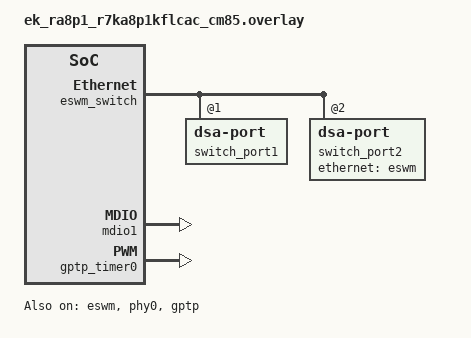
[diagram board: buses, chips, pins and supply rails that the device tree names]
/*
 * Copyright The Zephyr Project Contributors
 *
 * SPDX-License-Identifier: Apache-2.0
 */

#include <zephyr/dt-bindings/ethernet/dsa_tag_proto.h>

&eth0 {
	status = "disabled";
};

&eth1 {
	status = "disabled";
};

&eswm {
	compatible = "renesas,ra-eswm-dsa";
	reg = <0x403c8000 0x19424>;
	interrupts = <24 1>;
	interrupt-names = "gwdi";
	clocks = <&iclk 0 0>,
		 <&pclka MSTPC 30>,
		 <&eswclk 0 0>,
		 <&eswphyclk 0 0>,
		 <&ethphyclk MSTPC 28>;
	clock-names = "gwcaclk", "pclk", "eswclk", "eswphyclk", "ethphyclk";
	zephyr,random-mac-address;
	status = "okay";

	eswm_switch: ethernet-switch {
		compatible = "renesas,ra-eswm-switch";
		#address-cells = <1>;
		#size-cells = <0>;

		switch_port1: switch_port@1 {
			compatible = "zephyr,dsa-port";
			reg = <1>;
			phy-handle = <&phy0>;
			phy-connection-type = "rgmii";
			local-mac-address = [74 90 50 01 02 03];
			pinctrl-0 = <&eth1_default>;
			pinctrl-names = "default";
			ptp-clock = <&gptp_timer0>;
		};

		/* CPU port */
		switch_port2: switch_port@2 {
			compatible = "zephyr,dsa-port";
			reg = <2>;
			ethernet = <&eswm>;
			phy-connection-type = "internal";
			zephyr,random-mac-address;
			dsa-tag-protocol = <DSA_TAG_PROTO_NOTAG>;
		};
	};
};

&mdio1 {
	pinctrl-0 = <&mdio1_default>;
	pinctrl-names = "default";
	status = "okay";
};

&phy0 {
	compatible = "maxlinear,gpy111";
	reg = <0>;
	int-gpios = <&ioport1 7 GPIO_ACTIVE_LOW>;
	reset-gpios = <&ioport7 8 GPIO_ACTIVE_LOW>;
	maxlinear,interface-type = "rgmii";
	maxlinear,rx-internal-delay = "1.5";
	status = "okay";
};

&gptp {
	compatible = "renesas,ra-gptp";
	reg = <0x403e0000 0x10c4>;
	status = "okay";
};

&gptp_timer0 {
	compatible = "renesas,ra-gptp-timer";
	reg = <0>;
	status = "okay";
};
